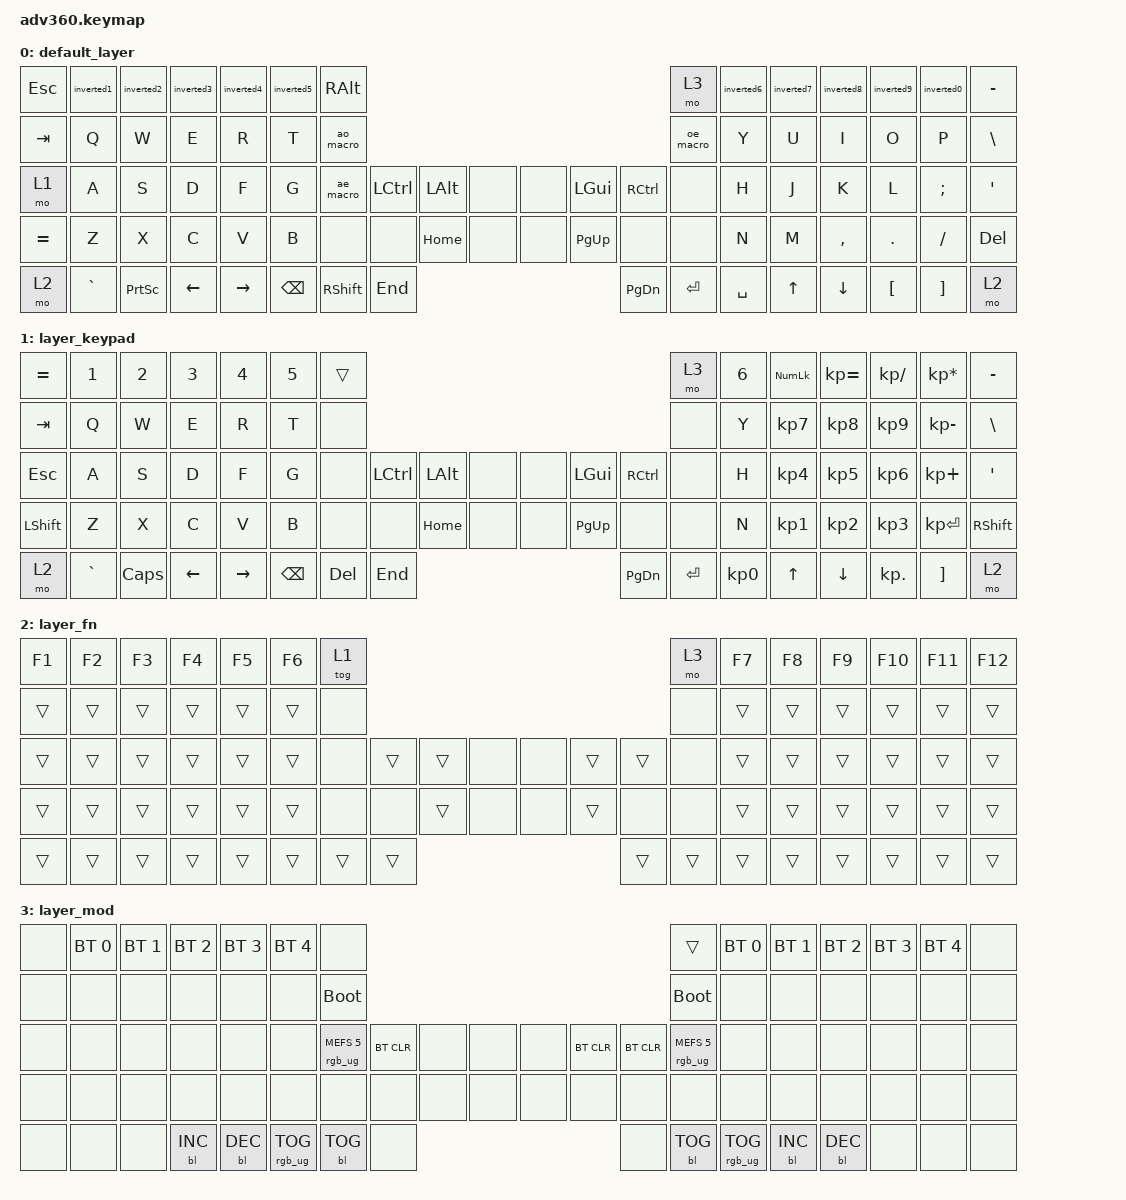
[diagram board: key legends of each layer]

/*
 * Copyright (c) 2020 The ZMK Contributors
 *
 * SPDX-License-Identifier: MIT
 */


#include <behaviors.dtsi>
#include <dt-bindings/zmk/keys.h>
#include <dt-bindings/zmk/bt.h>
#include <dt-bindings/zmk/rgb.h>
#include <dt-bindings/zmk/backlight.h>

/ {
  behaviors {
    #include "macros.dtsi"

    hm: homerow_mods {
        compatible = "zmk,behavior-hold-tap";
        label = "HOMEROW_MODS";
        #binding-cells = <2>;
        tapping-term-ms = <200>;
        quick_tap_ms = <175>;
        flavor = "tap-preferred";
        bindings = <&kp>, <&kp>;
    };

    inverted1: inverted1 {
        compatible = "zmk,behavior-mod-morph";
        label = "INVERTED_1";
        #binding-cells = <0>;
        bindings = <&kp EXCLAMATION>, <&kp KP_NUMBER_1>;
        mods = <(MOD_LSFT|MOD_RSFT)>;
    };

    inverted2: inverted2 {
        compatible = "zmk,behavior-mod-morph";
        label = "INVERTED_2";
        #binding-cells = <0>;
        bindings = <&kp AT>, <&kp KP_NUMBER_2>;
        mods = <(MOD_LSFT|MOD_RSFT)>;
    };

    inverted3: inverted3 {
        compatible = "zmk,behavior-mod-morph";
        label = "INVERTED_3";
        #binding-cells = <0>;
        bindings = <&kp HASH>, <&kp KP_NUMBER_3>;
        mods = <(MOD_LSFT|MOD_RSFT)>;
    };

    inverted4: inverted4 {
        compatible = "zmk,behavior-mod-morph";
        label = "INVERTED_4";
        #binding-cells = <0>;
        bindings = <&kp DOLLAR>, <&kp KP_NUMBER_4>;
        mods = <(MOD_LSFT|MOD_RSFT)>;
    };

    inverted5: inverted5 {
        compatible = "zmk,behavior-mod-morph";
        label = "INVERTED_5";
        #binding-cells = <0>;
        bindings = <&kp PERCENT>, <&kp KP_NUMBER_5>;
        mods = <(MOD_LSFT|MOD_RSFT)>;
    };

    inverted6: inverted6 {
        compatible = "zmk,behavior-mod-morph";
        label = "INVERTED_6";
        #binding-cells = <0>;
        bindings = <&kp CARET>, <&kp KP_NUMBER_6>;
        mods = <(MOD_LSFT|MOD_RSFT)>;
    };

    inverted7: inverted7 {
        compatible = "zmk,behavior-mod-morph";
        label = "INVERTED_7";
        #binding-cells = <0>;
        bindings = <&kp AMPERSAND>, <&kp KP_NUMBER_7>;
        mods = <(MOD_LSFT|MOD_RSFT)>;
    };

    inverted8: inverted8 {
        compatible = "zmk,behavior-mod-morph";
        label = "INVERTED_8";
        #binding-cells = <0>;
        bindings = <&kp ASTERISK>, <&kp KP_NUMBER_8>;
        mods = <(MOD_LSFT|MOD_RSFT)>;
    };

    inverted9: inverted9 {
        compatible = "zmk,behavior-mod-morph";
        label = "INVERTED_9";
        #binding-cells = <0>;
        bindings = <&kp LEFT_PARENTHESIS>, <&kp KP_NUMBER_9>;
        mods = <(MOD_LSFT|MOD_RSFT)>;
    };

    inverted0: inverted0 {
        compatible = "zmk,behavior-mod-morph";
        label = "INVERTED_0";
        #binding-cells = <0>;
        bindings = <&kp RIGHT_PARENTHESIS>, <&kp KP_NUMBER_0>;
        mods = <(MOD_LSFT|MOD_RSFT)>;
    };
    
  };

    macros {
        ao_macro: ao_macro {
            label = "ao_macro";
            compatible = "zmk,behavior-macro";
            #binding-cells = <0>;
            bindings
                = <&macro_press &kp RALT>
                , <&macro_tap &kp W>
                , <&macro_release &kp RALT>
                ;
        };

        ae_macro: ae_macro {
            label = "ae_macro";
            compatible = "zmk,behavior-macro";
            #binding-cells = <0>;
            bindings
                = <&macro_press &kp RALT>
                , <&macro_tap &kp Q>
                , <&macro_release &kp RALT>
                ;
        };

        oe_macro: oe_macro {
            label = "oe_macro";
            compatible = "zmk,behavior-macro";
            #binding-cells = <0>;
            bindings
                = <&macro_press &kp RALT>
                , <&macro_tap &kp P>
                , <&macro_release &kp RALT>
                ;
        };
    };

    keymap {
        compatible = "zmk,keymap";


        default_layer {
            bindings = <
   &kp ESC  &inverted1       &inverted2  &inverted3  &inverted4  &inverted5            &kp RALT                                                                 &mo 3   &inverted6    &inverted7    &inverted8    &inverted9    &inverted0  &kp MINUS
   &kp TAB       &kp Q            &kp W       &kp E       &kp R       &kp T           &ao_macro                                                                 &oe_macro    &kp Y         &kp U         &kp I         &kp O         &kp P   &kp BSLH
     &mo 1       &kp A            &kp S       &kp D       &kp F       &kp G           &ae_macro  &kp LCTRL  &kp LALT   &none   &none   &kp LGUI  &kp RCTRL      &none        &kp H         &kp J         &kp K         &kp L      &kp SEMI    &kp SQT
 &kp EQUAL       &kp Z            &kp X       &kp C       &kp V       &kp B               &none      &none  &kp HOME   &none   &none  &kp PG_UP      &none      &none        &kp N         &kp M     &kp COMMA       &kp DOT      &kp FSLH    &kp DEL
     &mo 2   &kp GRAVE  &kp PRINTSCREEN    &kp LEFT   &kp RIGHT                        &kp BSPC  &kp RSHFT   &kp END                  &kp PG_DN  &kp ENTER  &kp SPACE                     &kp UP      &kp DOWN      &kp LBKT      &kp RBKT      &mo 2
            >;
        };

        layer_keypad {
            bindings = <
 &kp EQUAL     &kp N1    &kp N2    &kp N3     &kp N4  &kp N5              &trans                                                                 &mo 3    &kp N6  &kp KP_NUM  &kp KP_EQUAL  &kp KP_DIVIDE  &kp KP_MULTIPLY  &kp MINUS
   &kp TAB      &kp Q     &kp W     &kp E      &kp R   &kp T               &none                                                                 &none     &kp Y   &kp KP_N7     &kp KP_N8      &kp KP_N9     &kp KP_MINUS   &kp BSLH
   &kp ESC      &kp A     &kp S     &kp D      &kp F   &kp G               &none  &kp LCTRL  &kp LALT   &none   &none   &kp LGUI  &kp RCTRL      &none     &kp H   &kp KP_N4     &kp KP_N5      &kp KP_N6      &kp KP_PLUS    &kp SQT
 &kp LSHFT      &kp Z     &kp X     &kp C      &kp V   &kp B               &none      &none  &kp HOME   &none   &none  &kp PG_UP      &none      &none     &kp N   &kp KP_N1     &kp KP_N2      &kp KP_N3     &kp KP_ENTER  &kp RSHFT
     &mo 2  &kp GRAVE  &kp CAPS  &kp LEFT  &kp RIGHT                    &kp BSPC    &kp DEL   &kp END                  &kp PG_DN  &kp ENTER  &kp KP_N0                &kp UP      &kp DOWN     &kp KP_DOT         &kp RBKT      &mo 2
            >;
        };

        layer_fn {
            bindings = <
 &kp F1  &kp F2  &kp F3  &kp F4  &kp F5  &kp F6            &tog 1                                                   &mo 3    &kp F7  &kp F8  &kp F9  &kp F10  &kp F11  &kp F12
 &trans  &trans  &trans  &trans  &trans  &trans             &none                                                   &none    &trans  &trans  &trans   &trans   &trans   &trans
 &trans  &trans  &trans  &trans  &trans  &trans             &none  &trans  &trans   &none   &none  &trans  &trans   &none    &trans  &trans  &trans   &trans   &trans   &trans
 &trans  &trans  &trans  &trans  &trans  &trans             &none   &none  &trans   &none   &none  &trans   &none   &none    &trans  &trans  &trans   &trans   &trans   &trans
 &trans  &trans  &trans  &trans  &trans                    &trans  &trans  &trans                  &trans  &trans  &trans            &trans  &trans   &trans   &trans   &trans
            >;
        };

        layer_mod {
            bindings = <
  &none  &bt BT_SEL 0  &bt BT_SEL 1  &bt BT_SEL 2  &bt BT_SEL 3  &bt BT_SEL 4                             &none                                                                              &trans    &bt BT_SEL 0  &bt BT_SEL 1  &bt BT_SEL 2  &bt BT_SEL 3  &bt BT_SEL 4   &none
  &none         &none         &none         &none         &none         &none                       &bootloader                                                                         &bootloader           &none         &none         &none         &none         &none   &none
  &none         &none         &none         &none         &none         &none            &rgb_ug RGB_MEFS_CMD 5  &bt BT_CLR   &none   &none   &none  &bt BT_CLR  &bt BT_CLR  &rgb_ug RGB_MEFS_CMD 5           &none         &none         &none         &none         &none   &none
  &none         &none         &none         &none         &none         &none                             &none       &none   &none   &none   &none       &none       &none                   &none           &none         &none         &none         &none         &none   &none
  &none         &none         &none    &bl BL_INC    &bl BL_DEC                                 &rgb_ug RGB_TOG  &bl BL_TOG   &none                       &none  &bl BL_TOG         &rgb_ug RGB_TOG                    &bl BL_INC    &bl BL_DEC         &none         &none   &none
            >;
        };

    };
};
